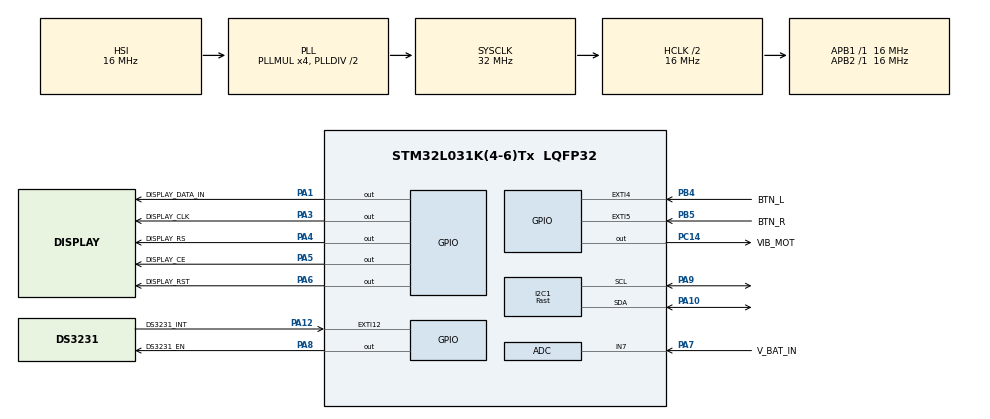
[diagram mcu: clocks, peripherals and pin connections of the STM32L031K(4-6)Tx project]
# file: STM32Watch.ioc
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ADC.ClockPrescaler=ADC_CLOCK_ASYNC_DIV2
ADC.DMAContinuousRequests=ENABLE
ADC.ExternalTrigConv=ADC_EXTERNALTRIGCONV_T2_TRGO
ADC.SamplingTime=ADC_SAMPLETIME_79CYCLES_5
Dma.ADC.0.Direction=DMA_PERIPH_TO_MEMORY
Dma.ADC.0.Instance=DMA1_Channel1
Dma.ADC.0.MemDataAlignment=DMA_MDATAALIGN_HALFWORD
Dma.ADC.0.MemInc=DMA_MINC_ENABLE
Dma.ADC.0.Mode=DMA_CIRCULAR
Dma.ADC.0.PeriphDataAlignment=DMA_PDATAALIGN_HALFWORD
Dma.ADC.0.PeriphInc=DMA_PINC_DISABLE
Dma.ADC.0.Priority=DMA_PRIORITY_LOW
Dma.Request0=ADC
I2C1.I2C_Speed_Mode=I2C_Fast
I2C1.Timing=0x0010061A
Mcu.Family=STM32L0
Mcu.Name=STM32L031K(4-6)Tx
Mcu.Package=LQFP32
NVIC.DMA1_Channel1_IRQn=true\:0\:0\:false\:false\:true\:false\:true\:true
NVIC.EXTI4_15_IRQn=true\:0\:0\:false\:false\:true\:true\:true\:true
PA1.GPIO_Label=DISPLAY_DATA_IN
PA1.Signal=GPIO_Output
PA10.Mode=I2C
PA10.Signal=I2C1_SDA
PA12.GPIO_Label=DS3231_INT
PA12.Signal=GPXTI12
PA13.GPIO_Label=TMS
PA13.Mode=Serial_Wire
PA13.Signal=SYS_SWDIO
PA14.GPIO_Label=TCK
PA14.Mode=Serial_Wire
PA14.Signal=SYS_SWCLK
PA3.GPIO_Label=DISPLAY_CLK
PA3.GPIO_PuPd=GPIO_NOPULL
PA3.Signal=GPIO_Output
PA4.GPIO_Label=DISPLAY_RS
PA4.GPIO_PuPd=GPIO_NOPULL
PA4.Signal=GPIO_Output
PA5.GPIO_Label=DISPLAY_CE
PA5.GPIO_PuPd=GPIO_NOPULL
PA5.Signal=GPIO_Output
PA6.GPIO_Label=DISPLAY_RST
PA6.GPIO_PuPd=GPIO_NOPULL
PA6.Signal=GPIO_Output
PA7.GPIO_Label=V_BAT_IN
PA7.Mode=IN7
PA7.Signal=ADC_IN7
PA8.GPIO_Label=DS3231_EN
PA8.GPIO_PuPd=GPIO_NOPULL
PA8.Signal=GPIO_Output
PA9.Mode=I2C
PA9.Signal=I2C1_SCL
PB4.GPIO_Label=BTN_L
PB4.GPIO_ModeDefaultEXTI=GPIO_MODE_IT_RISING_FALLING
PB4.Signal=GPXTI4
PB5.GPIO_Label=BTN_R
PB5.GPIO_ModeDefaultEXTI=GPIO_MODE_IT_RISING_FALLING
PB5.Signal=GPXTI5
PC14-OSC32_IN.GPIO_Label=VIB_MOT
PC14-OSC32_IN.Signal=GPIO_Output
ProjectManager.HeapSize=0x200
ProjectManager.StackSize=0x400
ProjectManager.TargetToolchain=STM32CubeIDE
RCC.AHBCLKDivider=RCC_SYSCLK_DIV2
RCC.AHBFreq_Value=16000000
RCC.APB1Freq_Value=16000000
RCC.APB1TimFreq_Value=16000000
RCC.APB2Freq_Value=16000000
RCC.APB2TimFreq_Value=16000000
RCC.HCLKFreq_Value=16000000
RCC.HSE_VALUE=8000000
RCC.HSI16_VALUE=16000000
RCC.HSI48_VALUE=48000000
RCC.HSI_VALUE=16000000
RCC.LSE_VALUE=32768
RCC.MSI_VALUE=2097000
RCC.PLLMUL=RCC_PLLMUL_4
RCC.SYSCLKFreq_VALUE=32000000
RCC.SYSCLKSource=RCC_SYSCLKSOURCE_PLLCLK
RCC.VCOOutputFreq_Value=64000000
TIM2.Period=5000
TIM2.Prescaler=16000 - 1
TIM2.TIM_MasterOutputTrigger=TIM_TRGO_UPDATE
VP_ADC_Vref_Input.Mode=IN-Vrefint
VP_TIM2_VS_ClockSourceINT.Mode=Internal
board=NUCLEO-L031K6

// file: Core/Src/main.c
/* USER CODE BEGIN Header */
/**
 ******************************************************************************
 * @file           : main.c
 * @brief          : Main program body
 ******************************************************************************
 * @attention
 *
 * Copyright (c) 2022 STMicroelectronics.
 * All rights reserved.
 *
 * This software is licensed under terms that can be found in the LICENSE file
 * in the root directory of this software component.
 * If no LICENSE file comes with this software, it is provided AS-IS.
 *
 ******************************************************************************
 */
/* USER CODE END Header */
#include "main.h"

ADC_HandleTypeDef hadc;
DMA_HandleTypeDef hdma_adc;

I2C_HandleTypeDef hi2c1;

TIM_HandleTypeDef htim2;

void SystemClock_Config(void);
static void MX_GPIO_Init(void);
static void MX_DMA_Init(void);
static void MX_ADC_Init(void);
static void MX_I2C1_Init(void);
static void MX_TIM2_Init(void);
/* USER CODE BEGIN PFP */
bool check_device(uint8_t address);
/* USER CODE END PFP */

int main(void) {

	/* MCU Configuration--------------------------------------------------------*/

	/* Reset of all peripherals, Initializes the Flash interface and the Systick. */
	HAL_Init();

	/* Configure the system clock */
	SystemClock_Config();

	/* Initialize all configured peripherals */
	MX_GPIO_Init();
	MX_DMA_Init();
	MX_ADC_Init();
	MX_I2C1_Init();
	MX_TIM2_Init();
	/* USER CODE BEGIN 2 */
	HAL_TIM_Base_Start_IT(&htim2);
	HAL_ADC_Start_DMA(&hadc, &battery_voltage, 2);
	init_display();
	set_brightness(10);
	enable_ds3231_pin();

	if (!check_device(DS3231_I2C_ADDRESS)) {
		print_string("RTC err!");
		HAL_Delay(1000);
		NVIC_SystemReset();
	} else {
		print_string("RTC ok  ");
		HAL_Delay(1000);
	}

	if (!check_device(BH1750_I2C_ADDRESS)) {
		print_string("LX  err!");
		HAL_Delay(1000);
		NVIC_SystemReset();
	} else {
		print_string("LX ok   ");
		HAL_Delay(1000);
	}

	print_string(" Hello! ");
	buzz_motor(300);
	MenuItem display_partial = { "DISP PAR", print_time_partial, NULL, NULL };
	MenuItem display_full = { "DISP FUL", print_time_full, &display_partial,
	NULL };
	MenuItem display_date = { "DISP DAT", print_date, &display_full,
			&display_partial };
	display_full.next = &display_date;
	display_partial.prev = &display_date;
	display_partial.next = &display_full;

	MenuItem menu = display_full;
	read_time();
	read_date();
	if (!bh1750_configure_mode(CONTINUOUS_HIGH_RES_MODE)) {
		print_string("LX.C ERR");
		HAL_Delay(500);
	}
	menu.func();
	/* USER CODE END 2 */

	/* Infinite loop */
	/* USER CODE BEGIN WHILE */
	while (1) {
		if (auto_brightness) {
			read_current_light_intensity();
			uint8_t lx_intensity = light_intensity / 8196;
			uint8_t new_brightness = (lx_intensity & 0b00001111) == 0 ? 1 : lx_intensity + 4;
			set_brightness(new_brightness);
		} else {
			if (dim_timeout_s != 0
					&& sleep_timeout_counter >= dim_timeout_s * 2) {
				set_brightness(1);
				set_peak_current_brightness(0b10);
			} else {
				set_brightness(10);
				set_peak_current_brightness(0b00);
			}
		}

		if (sleep_timeout_counter < sleep_timeout_s * 2
				|| sleep_timeout_s == 0) {
			read_time();
			menu.func();
			switch (wait_for_input(500)) {
			case INPUT_LEFT_BUTTON_SHORT_PRESS:
				menu = *menu.prev;
				break;
			case INPUT_LEFT_BUTTON_LONG_PRESS:
				print_battery_voltage();
				buzz_motor(100);
				wait_for_buttons_released();
				break;
			case INPUT_RIGHT_BUTTON_SHORT_PRESS:
				menu = *menu.next;
				break;
			case INPUT_RIGHT_BUTTON_LONG_PRESS:
				enter_menu();
				break;
			}
			menu.func();
			sleep_timeout_counter++;
		} else {
			display_sleep(true);
			disable_ds3231_pin();
			print_time_off();
			HAL_SuspendTick();
			HAL_PWR_EnterSTOPMode(PWR_LOWPOWERREGULATOR_ON, PWR_STOPENTRY_WFI);
			enable_ds3231_pin();
			display_sleep(false);
		}

		if (alarm_1) {
			while (!left_button_pressed || !right_button_pressed) {
				read_time();
				print_string("Alarm 1 ");
				buzz_motor(500);
				print_time_partial();
				HAL_Delay(500);
			}
			alarm_1 = false;
		}

		if (alarm_2) {
			while (!left_button_pressed || !right_button_pressed) {
				read_time();
				print_string("Alarm 2 ");
				buzz_motor(500);
				print_time_partial();
				HAL_Delay(500);
			}
			alarm_2 = false;
		}

		/* USER CODE END WHILE */

	}
}

void SystemClock_Config(void) {
	RCC_OscInitTypeDef RCC_OscInitStruct = { 0 };
	RCC_ClkInitTypeDef RCC_ClkInitStruct = { 0 };
	RCC_PeriphCLKInitTypeDef PeriphClkInit = { 0 };

	/** Configure the main internal regulator output voltage
	 */
	__HAL_PWR_VOLTAGESCALING_CONFIG(PWR_REGULATOR_VOLTAGE_SCALE1);

	/** Initializes the RCC Oscillators according to the specified parameters
	 * in the RCC_OscInitTypeDef structure.
	 */
	RCC_OscInitStruct.OscillatorType = RCC_OSCILLATORTYPE_HSI;
	RCC_OscInitStruct.HSIState = RCC_HSI_ON;
	RCC_OscInitStruct.HSICalibrationValue = RCC_HSICALIBRATION_DEFAULT;
	RCC_OscInitStruct.PLL.PLLState = RCC_PLL_ON;
	RCC_OscInitStruct.PLL.PLLSource = RCC_PLLSOURCE_HSI;
	RCC_OscInitStruct.PLL.PLLMUL = RCC_PLLMUL_4;
	RCC_OscInitStruct.PLL.PLLDIV = RCC_PLLDIV_2;
	if (HAL_RCC_OscConfig(&RCC_OscInitStruct) != HAL_OK) {
		Error_Handler();
	}

	/** Initializes the CPU, AHB and APB buses clocks
	 */
	RCC_ClkInitStruct.ClockType = RCC_CLOCKTYPE_HCLK | RCC_CLOCKTYPE_SYSCLK
			| RCC_CLOCKTYPE_PCLK1 | RCC_CLOCKTYPE_PCLK2;
	RCC_ClkInitStruct.SYSCLKSource = RCC_SYSCLKSOURCE_PLLCLK;
	RCC_ClkInitStruct.AHBCLKDivider = RCC_SYSCLK_DIV2;
	RCC_ClkInitStruct.APB1CLKDivider = RCC_HCLK_DIV1;
	RCC_ClkInitStruct.APB2CLKDivider = RCC_HCLK_DIV1;

	if (HAL_RCC_ClockConfig(&RCC_ClkInitStruct, FLASH_LATENCY_0) != HAL_OK) {
		Error_Handler();
	}
	PeriphClkInit.PeriphClockSelection = RCC_PERIPHCLK_I2C1;
	PeriphClkInit.I2c1ClockSelection = RCC_I2C1CLKSOURCE_PCLK1;
	if (HAL_RCCEx_PeriphCLKConfig(&PeriphClkInit) != HAL_OK) {
		Error_Handler();
	}
}

static void MX_ADC_Init(void) {

	ADC_ChannelConfTypeDef sConfig = { 0 };

	/** Configure the global features of the ADC (Clock, Resolution, Data Alignment and number of conversion)
	 */
	hadc.Instance = ADC1;
	hadc.Init.OversamplingMode = DISABLE;
	hadc.Init.ClockPrescaler = ADC_CLOCK_ASYNC_DIV2;
	hadc.Init.Resolution = ADC_RESOLUTION_12B;
	hadc.Init.SamplingTime = ADC_SAMPLETIME_79CYCLES_5;
	hadc.Init.ScanConvMode = ADC_SCAN_DIRECTION_FORWARD;
	hadc.Init.DataAlign = ADC_DATAALIGN_RIGHT;
	hadc.Init.ContinuousConvMode = DISABLE;
	hadc.Init.DiscontinuousConvMode = DISABLE;
	hadc.Init.ExternalTrigConvEdge = ADC_EXTERNALTRIGCONVEDGE_RISING;
	hadc.Init.ExternalTrigConv = ADC_EXTERNALTRIGCONV_T2_TRGO;
	hadc.Init.DMAContinuousRequests = ENABLE;
	hadc.Init.EOCSelection = ADC_EOC_SINGLE_CONV;
	hadc.Init.Overrun = ADC_OVR_DATA_PRESERVED;
	hadc.Init.LowPowerAutoWait = DISABLE;
	hadc.Init.LowPowerFrequencyMode = DISABLE;
	hadc.Init.LowPowerAutoPowerOff = DISABLE;
	if (HAL_ADC_Init(&hadc) != HAL_OK) {
		Error_Handler();
	}

	/** Configure for the selected ADC regular channel to be converted.
	 */
	sConfig.Channel = ADC_CHANNEL_7;
	sConfig.Rank = ADC_RANK_CHANNEL_NUMBER;
	if (HAL_ADC_ConfigChannel(&hadc, &sConfig) != HAL_OK) {
		Error_Handler();
	}

	/** Configure for the selected ADC regular channel to be converted.
	 */
	sConfig.Channel = ADC_CHANNEL_VREFINT;
	if (HAL_ADC_ConfigChannel(&hadc, &sConfig) != HAL_OK) {
		Error_Handler();
	}

}

static void MX_I2C1_Init(void) {

	hi2c1.Instance = I2C1;
	hi2c1.Init.Timing = 0x0010061A;
	hi2c1.Init.OwnAddress1 = 0;
	hi2c1.Init.AddressingMode = I2C_ADDRESSINGMODE_7BIT;
	hi2c1.Init.DualAddressMode = I2C_DUALADDRESS_DISABLE;
	hi2c1.Init.OwnAddress2 = 0;
	hi2c1.Init.OwnAddress2Masks = I2C_OA2_NOMASK;
	hi2c1.Init.GeneralCallMode = I2C_GENERALCALL_DISABLE;
	hi2c1.Init.NoStretchMode = I2C_NOSTRETCH_DISABLE;
	if (HAL_I2C_Init(&hi2c1) != HAL_OK) {
		Error_Handler();
	}

	/** Configure Analogue filter
	 */
	if (HAL_I2CEx_ConfigAnalogFilter(&hi2c1, I2C_ANALOGFILTER_ENABLE)
			!= HAL_OK) {
		Error_Handler();
	}

	/** Configure Digital filter
	 */
	if (HAL_I2CEx_ConfigDigitalFilter(&hi2c1, 0) != HAL_OK) {
		Error_Handler();
	}

}

static void MX_TIM2_Init(void) {

	TIM_ClockConfigTypeDef sClockSourceConfig = { 0 };
	TIM_MasterConfigTypeDef sMasterConfig = { 0 };

	htim2.Instance = TIM2;
	htim2.Init.Prescaler = 16000 - 1;
	htim2.Init.CounterMode = TIM_COUNTERMODE_UP;
	htim2.Init.Period = 5000;
	htim2.Init.ClockDivision = TIM_CLOCKDIVISION_DIV1;
	htim2.Init.AutoReloadPreload = TIM_AUTORELOAD_PRELOAD_DISABLE;
	if (HAL_TIM_Base_Init(&htim2) != HAL_OK) {
		Error_Handler();
	}
	sClockSourceConfig.ClockSource = TIM_CLOCKSOURCE_INTERNAL;
	if (HAL_TIM_ConfigClockSource(&htim2, &sClockSourceConfig) != HAL_OK) {
		Error_Handler();
	}
	sMasterConfig.MasterOutputTrigger = TIM_TRGO_UPDATE;
	sMasterConfig.MasterSlaveMode = TIM_MASTERSLAVEMODE_DISABLE;
	if (HAL_TIMEx_MasterConfigSynchronization(&htim2, &sMasterConfig)
			!= HAL_OK) {
		Error_Handler();
	}

}

static void MX_DMA_Init(void) {

	/* DMA controller clock enable */
	__HAL_RCC_DMA1_CLK_ENABLE();

	/* DMA interrupt init */
	/* DMA1_Channel1_IRQn interrupt configuration */
	HAL_NVIC_SetPriority(DMA1_Channel1_IRQn, 0, 0);
	HAL_NVIC_EnableIRQ(DMA1_Channel1_IRQn);

}

static void MX_GPIO_Init(void) {
	GPIO_InitTypeDef GPIO_InitStruct = { 0 };

	/* GPIO Ports Clock Enable */
	__HAL_RCC_GPIOC_CLK_ENABLE();
	__HAL_RCC_GPIOA_CLK_ENABLE();
	__HAL_RCC_GPIOB_CLK_ENABLE();

	/*Configure GPIO pin Output Level */
	HAL_GPIO_WritePin(VIB_MOT_GPIO_Port, VIB_MOT_Pin, GPIO_PIN_RESET);

	/*Configure GPIO pin Output Level */
	HAL_GPIO_WritePin(GPIOA,
			DISPLAY_DATA_IN_Pin | DISPLAY_CLK_Pin | DISPLAY_RS_Pin
					| DISPLAY_CE_Pin | DISPLAY_RST_Pin | DS3231_EN_Pin,
			GPIO_PIN_RESET);

	/*Configure GPIO pin : VIB_MOT_Pin */
	GPIO_InitStruct.Pin = VIB_MOT_Pin;
	GPIO_InitStruct.Mode = GPIO_MODE_OUTPUT_PP;
	GPIO_InitStruct.Pull = GPIO_NOPULL;
	GPIO_InitStruct.Speed = GPIO_SPEED_FREQ_LOW;
	HAL_GPIO_Init(VIB_MOT_GPIO_Port, &GPIO_InitStruct);

	/*Configure GPIO pin : PC15 */
	GPIO_InitStruct.Pin = GPIO_PIN_15;
	GPIO_InitStruct.Mode = GPIO_MODE_ANALOG;
	GPIO_InitStruct.Pull = GPIO_NOPULL;
	HAL_GPIO_Init(GPIOC, &GPIO_InitStruct);

	/*Configure GPIO pins : PA0 PA2 PA11 PA15 */
	GPIO_InitStruct.Pin = GPIO_PIN_0 | GPIO_PIN_2 | GPIO_PIN_11 | GPIO_PIN_15;
	GPIO_InitStruct.Mode = GPIO_MODE_ANALOG;
	GPIO_InitStruct.Pull = GPIO_NOPULL;
	HAL_GPIO_Init(GPIOA, &GPIO_InitStruct);

	/*Configure GPIO pins : DISPLAY_DATA_IN_Pin DISPLAY_CLK_Pin DISPLAY_RS_Pin DISPLAY_CE_Pin
	 DISPLAY_RST_Pin DS3231_EN_Pin */
	GPIO_InitStruct.Pin = DISPLAY_DATA_IN_Pin | DISPLAY_CLK_Pin | DISPLAY_RS_Pin
			| DISPLAY_CE_Pin | DISPLAY_RST_Pin | DS3231_EN_Pin;
	GPIO_InitStruct.Mode = GPIO_MODE_OUTPUT_PP;
	GPIO_InitStruct.Pull = GPIO_NOPULL;
	GPIO_InitStruct.Speed = GPIO_SPEED_FREQ_LOW;
	HAL_GPIO_Init(GPIOA, &GPIO_InitStruct);

	/*Configure GPIO pins : PB0 PB1 PB3 PB6
	 PB7 */
	GPIO_InitStruct.Pin = GPIO_PIN_0 | GPIO_PIN_1 | GPIO_PIN_3 | GPIO_PIN_6
			| GPIO_PIN_7;
	GPIO_InitStruct.Mode = GPIO_MODE_ANALOG;
	GPIO_InitStruct.Pull = GPIO_NOPULL;
	HAL_GPIO_Init(GPIOB, &GPIO_InitStruct);

	/*Configure GPIO pin : DS3231_INT_Pin */
	GPIO_InitStruct.Pin = DS3231_INT_Pin;
	GPIO_InitStruct.Mode = GPIO_MODE_IT_RISING;
	GPIO_InitStruct.Pull = GPIO_NOPULL;
	HAL_GPIO_Init(DS3231_INT_GPIO_Port, &GPIO_InitStruct);

	/*Configure GPIO pins : BTN_L_Pin BTN_R_Pin */
	GPIO_InitStruct.Pin = BTN_L_Pin | BTN_R_Pin;
	GPIO_InitStruct.Mode = GPIO_MODE_IT_RISING_FALLING;
	GPIO_InitStruct.Pull = GPIO_NOPULL;
	HAL_GPIO_Init(GPIOB, &GPIO_InitStruct);

	/* EXTI interrupt init*/
	HAL_NVIC_SetPriority(EXTI4_15_IRQn, 0, 0);
	HAL_NVIC_EnableIRQ(EXTI4_15_IRQn);

}

/* USER CODE BEGIN 4 */
bool check_device(uint8_t address) {
	return HAL_I2C_IsDeviceReady(&hi2c1, (address << 1), 5, 200) == HAL_OK;
}

/* USER CODE END 4 */

void Error_Handler(void) {
	__disable_irq();
	while (1) {
	}
}
